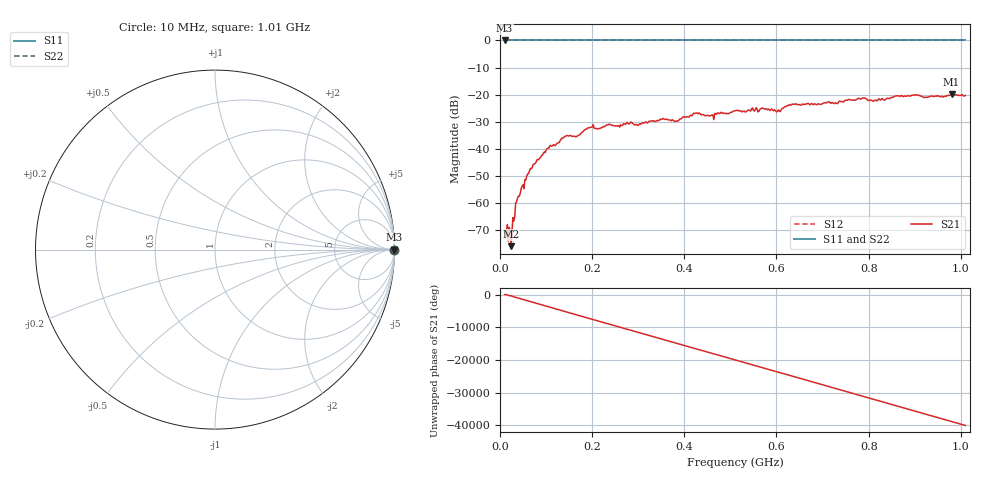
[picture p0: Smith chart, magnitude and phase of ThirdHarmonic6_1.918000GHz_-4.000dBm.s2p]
! 8/16/2025 11:07:40 PM
! C:\ANRITSUVNA\TEMP\TEMP.S2P
! CHANNEL.1
! TR.MEASUREMENT
! RAW.DATA
! RF.CORRECTION.OFF
! AVERAGING.OFF
! IF.BANDWIDTH: 5KHZ
! SWEEPTYPE:  FREQ.SWEEP(Linear)
! Reference Plane Port Info
! PORT:  PORT1  PORT2
! DISTANCE:  0  m  0  m
! TIME:  0  s  0  s
! PHASE.OFFSET:  0  deg.  0  deg.
! LOSS:  0  dB  0  dB
! REF.LOSS:  0  dB  0  dB
! REF.FREQ:  0  Hz  0  Hz
! Power Info
! POWER:  -20  dBm  -20  dBm
! EFF.POWER:  -20  dBm  -20  dBm
! SOURCE.ATTEN:  0  dB  0  dB
! TEST.ATTEN:  0  dB  0  dB
# GHZ S RI R 50.0
! FREQ.GHZ  S11RE  S11IM  S21RE  S21IM  S12RE  S12IM  S22RE  S22IM
!; PortSelection: Port_12
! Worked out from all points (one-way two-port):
!   501 points, 10 MHz to 1.01 GHz, reference 50 ohm
!   highest |S21| = -19.85 dB at 980 MHz (marker M1); lowest = -76.0 dB at 24 MHz (marker M2)
!   lowest |S11| = 0.0 dB at 10 MHz (marker M3)
!   |S11| at or under -10 dB: nowhere
!   |S22| runs from 0.0 to 0.0 dB; largest |S21 - S12| = 1.1
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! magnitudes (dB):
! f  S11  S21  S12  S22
! 10 MHz  0.0  -70.2  0.0  0.0
! 22 MHz  0.0  -69.9  0.0  0.0
! 24 MHz  0.0  -76.0  0.0  0.0
! 28 MHz  0.0  -65.5  0.0  0.0
! 32 MHz  0.0  -65.1  0.0  0.0
! 38 MHz  0.0  -58.2  0.0  0.0
! 70 MHz  0.0  -47.0  0.0  0.0
! 106 MHz  0.0  -39.8  0.0  0.0
! 142 MHz  0.0  -35.4  0.0  0.0
! 178 MHz  0.0  -33.9  0.0  0.0
! 198 MHz  0.0  -32.1  0.0  0.0
! 344 MHz  0.0  -29.7  0.0  0.0
! 382 MHz  0.0  -29.8  0.0  0.0
! 424 MHz  0.0  -27.0  0.0  0.0
! 460 MHz  0.0  -27.6  0.0  0.0
! 510 MHz  0.0  -26.0  0.0  0.0
! 604 MHz  0.0  -25.7  0.0  0.0
! 632 MHz  0.0  -23.9  0.0  0.0
! 678 MHz  0.0  -23.5  0.0  0.0
! 844 MHz  0.0  -21.5  0.0  0.0
! 980 MHz  0.0  -19.9  0.0  0.0
! 1.01 GHz  0.0  -20.3  0.0  0.0
